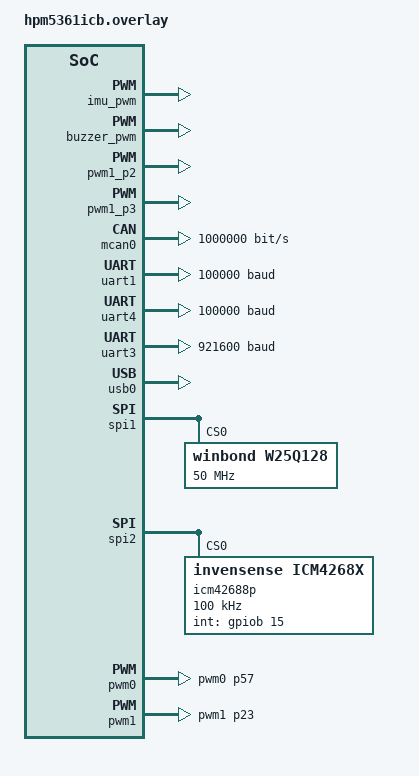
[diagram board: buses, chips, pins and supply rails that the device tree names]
#include <dt-bindings/gpio/gpio.h>
#include <dt-bindings/clock/hpm5361-clocks.h>
#include "dt-bindings/pinctrl/hpmicro-pinctrl-common.h"
#include <zephyr/dt-bindings/pwm/pwm.h>

/ {
    aliases {
        user-can1   = &mcan0;
        remote-uart = &uart4;
        imu-spi     = &icm42688p;
        imu-pwm     = &imu_pwm;
        buzzer-pwm  = &buzzer_pwm;
        flash-spi   = &w25q128;
        pc-usb      = &qingyuusb_usb0;
    };

    chosen {
        zephyr,console = &uart3;
    };

    pwm {
        compatible = "pwm-leds";

        imu_pwm: imu_pwm {
            pwms = <&pwm0 7 PWM_USEC(1000) PWM_POLARITY_NORMAL>;
            label = "ICM42688P Heater";
            status = "okay";
        };

        buzzer_pwm: buzzer_pwm {
            pwms = <&pwm0 5 PWM_USEC(1000) PWM_POLARITY_NORMAL>;
            label = "Buzzer";
            status = "okay";
        };

        pwm1_p2: pwm1_p2 {
            pwms = <&pwm1 2 PWM_USEC(1000) PWM_POLARITY_NORMAL>;
            label = "PWM1 CH2";
            status = "okay";
        };

        pwm1_p3: pwm1_p3 {
            pwms = <&pwm1 3 PWM_USEC(1000) PWM_POLARITY_NORMAL>;
            label = "PWM1 CH3";
            status = "okay";
        };
    };
};

&hdma {
    status = "okay";
};

&gpioa {
    pinctrl-0 = <&pinmux_gpioa>;
    pinctrl-names = "default";
    status = "okay";
};

&gpiob {
    pinctrl-0 = <&pinmux_gpiob_spi>;
    pinctrl-names = "default";
    status = "okay";
};

&gpioy {
    pinctrl-0 = <&pinmux_gpioy>;
    pinctrl-names = "default";
    status = "okay";
};

&mcan0 {
    pinctrl-0 = <&pinmux_mcan0_txrx>;
    pinctrl-names = "default";
    bitrate = <1000000>;
    status = "okay";
};

&uart1 {
    current-speed = <100000>;
    pinctrl-0 = <&pinmux_uart1>;
    pinctrl-names = "default";
    dmas = <&hdma 6 0x16>, <&hdma 7 0x17>;
    dma-names = "rx", "tx";
    status = "okay";
};

&uart4 {
    current-speed = <100000>;
    pinctrl-0 = <&pinmux_uart4_rx>;
    pinctrl-names = "default";
    uart-idle-gptmr-reg = <0xF000C000>;
    uart-idle-gptmr-clock-name = <CLOCK_GPTMR3>;
    dmas = <&hdma 2 0x1C>, <&hdma 3 0x1D>;
    dma-names = "rx", "tx";
    status = "okay";
};

&uart3 {
    current-speed = <921600>;
    pinctrl-0 = <&pinmux_uart3>;
    pinctrl-names = "default";
    dmas = <&hdma 4 0x1A>, <&hdma 5 0x1B>;
    dma-names = "rx", "tx";
    status = "okay";
};

qingyuusb_usb0: &usb0 {
    compatible = "hpmicro,hpm-qingyuusb";
    clk-name = <CLOCK_USB0>;
    status = "okay";
};

&spi1 {
    pinctrl-0 = <&pinmux_spi1>;
    pinctrl-names = "default";
    clocks = <&clk CLOCK_SPI1 CLK_SRC_OSC24M 1>;
    status = "okay";

    w25q128: w25q128@0 {
        compatible = "winbond,w25q128";
        reg = <0>;
        spi-max-frequency = <50000000>;
        status = "okay";
    };
};

&spi2 {
    pinctrl-0 = <&pinmux_spi2_local>;
    pinctrl-names = "default";
    clocks = <&clk CLOCK_SPI2 CLK_SRC_OSC24M 1>;
    status = "okay";

    icm42688p: icm42688p@0 {
        compatible = "invensense,icm4268x";
        reg = <0>;
        spi-max-frequency = <100000>;
        int-gpios = <&gpiob 15 GPIO_ACTIVE_HIGH>;
        status = "okay";
    };
};

&pwm0 {
    pinctrl-0 = <&pinmux_pwm0_p57>;
    pinctrl-names = "default";
    period-init = <1000>;
    dead-zone-in-half-cycle = <0>;
    status = "okay";
};

&mtimer {
    compatible = "riscv,machine-timer", "andestech,machine-timer";
    reg-names = "mtime", "mtimecmp";
};

&pwm1 {
    pinctrl-0 = <&pinmux_pwm1_p23>;
    pinctrl-names = "default";
    period-init = <1000>;
    dead-zone-in-half-cycle = <0>;
    status = "okay";
};
